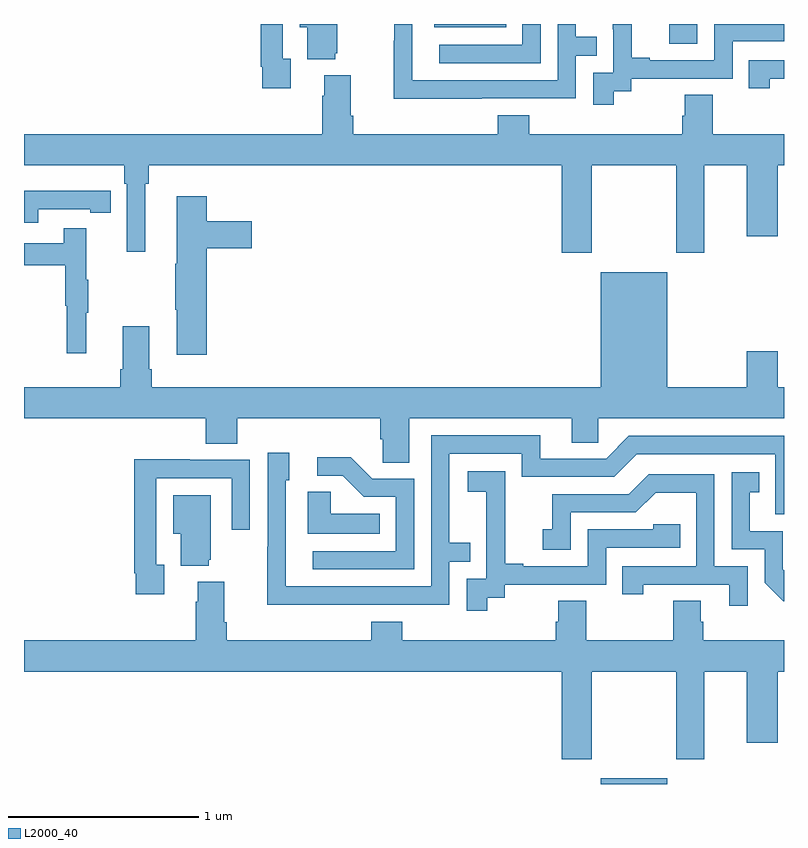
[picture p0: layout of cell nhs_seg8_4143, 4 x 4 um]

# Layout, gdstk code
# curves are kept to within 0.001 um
import gdstk
lib = gdstk.Library(unit=1e-6, precision=1e-09)
def R(c, l, rs):  # rectangles x0, y0, x1, y1
    for r in rs: c.add(gdstk.rectangle(r[:2], r[2:], *l))
def P(c, l, *ps):  # polygons
    for p in ps: c.add(gdstk.Polygon(p, *l))
L2000_40 = (2000, 40)

nhs_seg8_4143 = lib.new_cell('nhs_seg8_4143')
R(nhs_seg8_4143, L2000_40, [(368.036,1123.9,368.386,1123.93), (368.397,1127.796,368.544,1127.9), (367.16,1127.882,367.538,1127.9)])
P(nhs_seg8_4143, L2000_40, [(366.638,1127.745),(366.649,1127.745),(366.649,1127.9),(366.452,1127.9),(366.452,1127.882),(366.491,1127.882),(366.491,1127.714),(366.638,1127.714)],
  [(366.403,1127.718),(366.363,1127.718),(366.363,1127.9),(366.247,1127.9),(366.247,1127.674),(366.255,1127.674),(366.255,1127.562),(366.403,1127.562)],
  [(368.104,1127.545),(368.196,1127.545),(368.196,1127.613),(368.73,1127.613),(368.73,1127.808),(369,1127.808),(369,1127.9),(368.634,1127.9),(368.634,1127.709),(368.293,1127.709),(368.293,1127.722),(368.198,1127.722),(368.198,1127.9),(368.099,1127.9),(368.099,1127.873),(368.1,1127.873),(368.1,1127.643),(367.995,1127.643),(367.995,1127.475),(368.104,1127.475)],
  [(367.409,1127.508),(367.905,1127.508),(367.905,1127.733),(368.015,1127.733),(368.015,1127.834),(367.905,1127.834),(367.905,1127.9),(367.809,1127.9),(367.809,1127.604),(367.044,1127.604),(367.044,1127.9),(366.948,1127.9),(366.948,1127.813),(366.946,1127.813),(366.946,1127.507),(367.409,1127.507)],
  [(367.719,1127.9),(367.623,1127.9),(367.623,1127.79),(367.185,1127.79),(367.185,1127.694),(367.719,1127.694)],
  [(368.926,1127.613),(369,1127.613),(369,1127.709),(368.815,1127.709),(368.815,1127.562),(368.926,1127.562)],
  [(367.989,1127.156),(368.434,1127.156),(368.434,1126.695),(368.581,1126.695),(368.581,1127.156),(368.804,1127.156),(368.804,1126.782),(368.968,1126.782),(368.968,1127.156),(369,1127.156),(369,1127.32),(368.625,1127.32),(368.625,1127.528),(368.477,1127.528),(368.477,1127.418),(368.465,1127.418),(368.465,1127.32),(367.658,1127.32),(367.658,1127.419),(367.493,1127.419),(367.493,1127.32),(366.734,1127.32),(366.734,1127.416),(366.721,1127.416),(366.721,1127.629),(366.581,1127.629),(366.581,1127.522),(366.569,1127.522),(366.569,1127.32),(365,1127.32),(365,1127.156),(365.528,1127.156),(365.528,1127.06),(365.541,1127.06),(365.541,1126.701),(365.638,1126.701),(365.638,1127.06),(365.657,1127.06),(365.657,1127.156),(367.829,1127.156),(367.829,1126.695),(367.989,1126.695)],
  [(365.076,1126.926),(365.348,1126.926),(365.348,1126.906),(365.456,1126.906),(365.456,1127.022),(365.348,1127.022),(365.348,1127.023),(365,1127.023),(365,1126.854),(365.076,1126.854)],
  [(365.963,1126.721),(366.199,1126.721),(366.199,1126.863),(365.963,1126.863),(365.963,1126.993),(365.804,1126.993),(365.804,1126.637),(365.797,1126.637),(365.797,1126.396),(365.804,1126.396),(365.804,1126.158),(365.963,1126.158)],
  [(365.327,1126.379),(365.338,1126.379),(365.338,1126.553),(365.327,1126.553),(365.327,1126.825),(365.209,1126.825),(365.209,1126.746),(365,1126.746),(365,1126.63),(365.217,1126.63),(365.217,1126.416),(365.224,1126.416),(365.224,1126.167),(365.327,1126.167)],
  [(367.027,1125.824),(367.883,1125.824),(367.883,1125.697),(368.022,1125.697),(368.022,1125.824),(369,1125.824),(369,1125.988),(368.968,1125.988),(368.968,1126.177),(368.804,1126.177),(368.804,1125.988),(368.386,1125.988),(368.386,1126.594),(368.036,1126.594),(368.036,1125.988),(365.672,1125.988),(365.672,1126.084),(365.659,1126.084),(365.659,1126.309),(365.519,1126.309),(365.519,1126.084),(365.507,1126.084),(365.507,1125.988),(365,1125.988),(365,1125.824),(365.957,1125.824),(365.957,1125.691),(366.122,1125.691),(366.122,1125.824),(366.875,1125.824),(366.875,1125.715),(366.888,1125.715),(366.888,1125.592),(367.027,1125.592)],
  [(366.743,1124.844),(367.239,1124.844),(367.239,1125.069),(367.349,1125.069),(367.349,1125.17),(367.239,1125.17),(367.239,1125.639),(367.62,1125.639),(367.62,1125.516),(368.106,1125.516),(368.226,1125.636),(368.955,1125.636),(368.955,1125.321),(369,1125.321),(369,1125.732),(368.184,1125.732),(368.064,1125.612),(367.717,1125.612),(367.717,1125.735),(367.143,1125.735),(367.143,1124.94),(366.378,1124.94),(366.378,1125.498),(366.397,1125.498),(366.397,1125.643),(366.282,1125.643),(366.282,1125.149),(366.28,1125.149),(366.28,1124.843)],
  [(367.053,1125.507),(366.834,1125.507),(366.721,1125.62),(366.543,1125.62),(366.543,1125.522),(366.677,1125.522),(366.788,1125.411),(366.957,1125.411),(366.957,1125.126),(366.519,1125.126),(366.519,1125.03),(367.053,1125.03)],
  [(365.737,1125.054),(365.697,1125.054),(365.697,1125.51),(366.093,1125.51),(366.093,1125.237),(366.189,1125.237),(366.189,1125.606),(365.873,1125.606),(365.873,1125.608),(365.581,1125.608),(365.581,1125.01),(365.589,1125.01),(365.589,1124.898),(365.737,1124.898)],
  [(367.438,1124.881),(367.53,1124.881),(367.53,1124.949),(368.064,1124.949),(368.064,1125.144),(368.453,1125.144),(368.453,1125.267),(368.313,1125.267),(368.313,1125.24),(367.968,1125.24),(367.968,1125.045),(367.627,1125.045),(367.627,1125.058),(367.532,1125.058),(367.532,1125.341),(367.533,1125.341),(367.533,1125.547),(367.335,1125.547),(367.335,1125.437),(367.433,1125.437),(367.433,1125.209),(367.434,1125.209),(367.434,1124.979),(367.329,1124.979),(367.329,1124.811),(367.438,1124.811)],
  [(369,1125.024),(368.994,1125.03),(368.994,1125.231),(368.821,1125.231),(368.821,1125.435),(368.87,1125.435),(368.87,1125.541),(368.724,1125.541),(368.724,1125.135),(368.898,1125.135),(368.898,1124.958),(368.996,1124.861),(369,1124.861)],
  [(368.808,1125.045),(368.634,1125.045),(368.634,1125.531),(368.288,1125.531),(368.183,1125.426),(367.78,1125.426),(367.78,1125.241),(367.731,1125.241),(367.731,1125.132),(367.878,1125.132),(367.878,1125.33),(368.22,1125.33),(368.324,1125.434),(368.538,1125.434),(368.538,1125.045),(368.149,1125.045),(368.149,1124.898),(368.26,1124.898),(368.26,1124.949),(368.711,1124.949),(368.711,1124.838),(368.808,1124.838)],
  [(366.872,1125.322),(366.615,1125.322),(366.615,1125.437),(366.494,1125.437),(366.494,1125.218),(366.872,1125.218)],
  [(365.972,1125.081),(365.983,1125.081),(365.983,1125.421),(365.786,1125.421),(365.786,1125.218),(365.825,1125.218),(365.825,1125.05),(365.972,1125.05)],
  [(367.989,1124.492),(368.434,1124.492),(368.434,1124.031),(368.581,1124.031),(368.581,1124.492),(368.804,1124.492),(368.804,1124.118),(368.968,1124.118),(368.968,1124.492),(369,1124.492),(369,1124.656),(368.576,1124.656),(368.576,1124.754),(368.563,1124.754),(368.563,1124.864),(368.416,1124.864),(368.416,1124.656),(367.959,1124.656),(367.959,1124.864),(367.811,1124.864),(367.811,1124.754),(367.799,1124.754),(367.799,1124.656),(366.992,1124.656),(366.992,1124.755),(366.827,1124.755),(366.827,1124.656),(366.068,1124.656),(366.068,1124.752),(366.055,1124.752),(366.055,1124.965),(365.915,1124.965),(365.915,1124.858),(365.903,1124.858),(365.903,1124.656),(365,1124.656),(365,1124.492),(367.829,1124.492),(367.829,1124.031),(367.989,1124.031)])

lib.write_gds('nhs_seg8_4143.gds')
